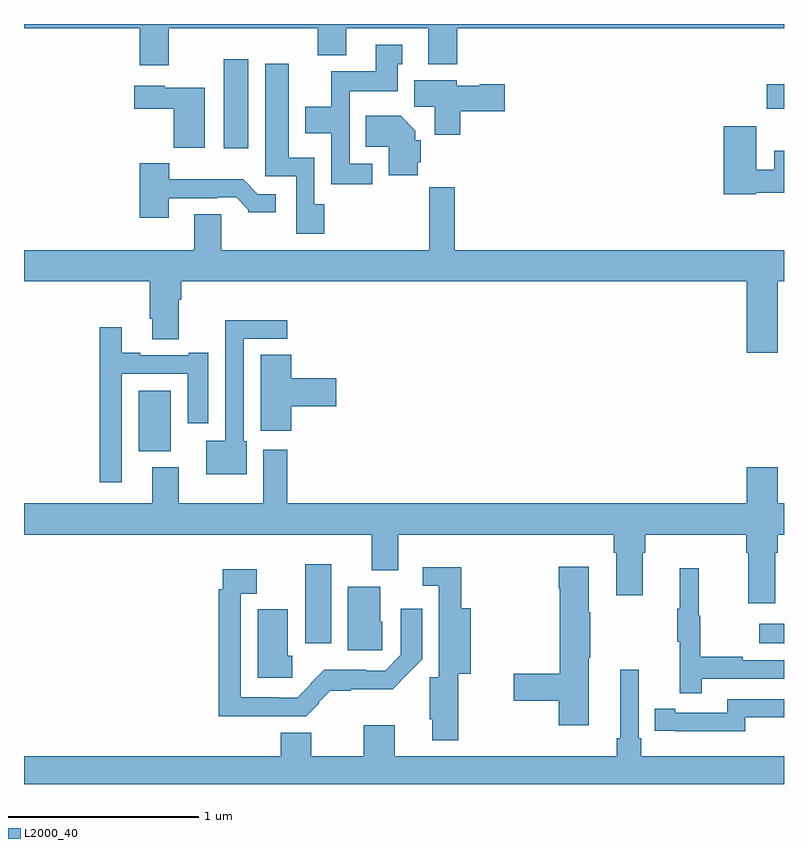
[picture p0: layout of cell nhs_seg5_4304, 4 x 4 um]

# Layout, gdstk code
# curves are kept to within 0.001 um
import gdstk
lib = gdstk.Library(unit=1e-6, precision=1e-09)
def R(c, l, rs):  # rectangles x0, y0, x1, y1
    for r in rs: c.add(gdstk.rectangle(r[:2], r[2:], *l))
def P(c, l, *ps):  # polygons
    for p in ps: c.add(gdstk.Polygon(p, *l))
L2000_40 = (2000, 40)

nhs_seg5_4304 = lib.new_cell('nhs_seg5_4304')
R(nhs_seg5_4304, L2000_40, [(368.871,837.539,369,837.643), (366.479,837.54,366.616,837.955), (365.603,838.55,365.773,838.87), (366.05,840.144,366.181,840.613), (368.91,840.353,369,840.483)])
P(nhs_seg5_4304, L2000_40, [(365.761,840.776),(366.545,840.776),(366.545,840.635),(366.697,840.635),(366.697,840.776),(367.127,840.776),(367.127,840.587),(367.28,840.587),(367.28,840.776),(369,840.776),(369,840.799),(365,840.799),(365,840.776),(365.609,840.776),(365.609,840.582),(365.761,840.582)],
  [(366.832,840.063),(366.714,840.063),(366.714,840.446),(366.967,840.446),(366.967,840.588),(366.991,840.588),(366.991,840.691),(366.851,840.691),(366.851,840.55),(366.616,840.55),(366.616,840.364),(366.479,840.364),(366.479,840.224),(366.618,840.224),(366.618,839.955),(366.832,839.955)],
  [(366.581,839.85),(366.528,839.85),(366.528,840.094),(366.394,840.094),(366.394,840.589),(366.269,840.589),(366.269,839.997),(366.432,839.997),(366.432,839.694),(366.581,839.694)],
  [(367.295,840.341),(367.531,840.341),(367.531,840.483),(367.398,840.483),(367.398,840.475),(367.278,840.475),(367.278,840.502),(367.055,840.502),(367.055,840.364),(367.162,840.364),(367.162,840.216),(367.295,840.216)],
  [(365.95,840.463),(365.742,840.463),(365.742,840.475),(365.58,840.475),(365.58,840.353),(365.788,840.353),(365.788,840.149),(365.95,840.149)],
  [(367.073,840.072),(367.087,840.072),(367.087,840.186),(367.06,840.186),(367.06,840.238),(366.982,840.316),(366.799,840.316),(366.799,840.152),(366.92,840.152),(366.92,840.002),(367.073,840.002)],
  [(368.85,839.91),(369,839.91),(369,840.132),(368.949,840.132),(368.949,840.031),(368.854,840.031),(368.854,840.262),(368.684,840.262),(368.684,839.902),(368.85,839.902)],
  [(365.761,839.883),(366.017,839.883),(366.017,839.886),(366.116,839.886),(366.18,839.822),(366.18,839.807),(366.325,839.807),(366.325,839.904),(366.231,839.904),(366.153,839.983),(365.764,839.983),(365.764,840.067),(365.609,840.067),(365.609,839.778),(365.761,839.778)],
  [(368.968,839.444),(369,839.444),(369,839.608),(367.268,839.608),(367.268,839.941),(367.132,839.941),(367.132,839.608),(366.037,839.608),(366.037,839.798),(365.897,839.798),(365.897,839.608),(365,839.608),(365,839.444),(365.663,839.444),(365.663,839.248),(365.675,839.248),(365.675,839.14),(365.815,839.14),(365.815,839.348),(365.828,839.348),(365.828,839.444),(368.804,839.444),(368.804,839.07),(368.968,839.07)],
  [(366.172,838.602),(366.156,838.602),(366.156,839.142),(366.385,839.142),(366.385,839.24),(366.06,839.24),(366.06,838.606),(365.96,838.606),(365.96,838.43),(366.172,838.43)],
  [(365.514,838.959),(365.861,838.959),(365.861,838.698),(365.971,838.698),(365.971,839.068),(365.867,839.068),(365.867,839.055),(365.611,839.055),(365.611,839.068),(365.515,839.068),(365.515,839.203),(365.398,839.203),(365.398,838.386),(365.514,838.386)],
  [(366.407,838.787),(366.643,838.787),(366.643,838.934),(366.407,838.934),(366.407,839.057),(366.245,839.057),(366.245,838.659),(366.407,838.659)],
  [(368.953,838.016),(368.966,838.016),(368.966,838.112),(369,838.112),(369,838.276),(368.968,838.276),(368.968,838.465),(368.804,838.465),(368.804,838.276),(366.386,838.276),(366.386,838.558),(366.26,838.558),(366.26,838.276),(365.815,838.276),(365.815,838.465),(365.675,838.465),(365.675,838.276),(365,838.276),(365,838.112),(366.83,838.112),(366.83,837.923),(366.97,837.923),(366.97,838.112),(368.105,838.112),(368.105,838.016),(368.117,838.016),(368.117,837.792),(368.257,837.792),(368.257,838.016),(368.27,838.016),(368.27,838.112),(368.801,838.112),(368.801,838.016),(368.813,838.016),(368.813,837.75),(368.953,837.75)],
  [(367.972,837.463),(367.98,837.463),(367.98,837.704),(367.972,837.704),(367.972,837.943),(367.814,837.943),(367.814,837.83),(367.819,837.83),(367.819,837.38),(367.578,837.38),(367.578,837.238),(367.814,837.238),(367.814,837.108),(367.972,837.108)],
  [(367.286,837.38),(367.35,837.38),(367.35,837.724),(367.301,837.724),(367.301,837.94),(367.098,837.94),(367.098,837.843),(367.184,837.843),(367.184,837.36),(367.136,837.36),(367.136,837.139),(367.148,837.139),(367.148,837.029),(367.286,837.029)],
  [(368.567,837.354),(369,837.354),(369,837.45),(368.783,837.45),(368.783,837.47),(368.56,837.47),(368.56,837.684),(368.552,837.684),(368.552,837.934),(368.45,837.934),(368.45,837.721),(368.439,837.721),(368.439,837.547),(368.45,837.547),(368.45,837.276),(368.567,837.276)],
  [(366.555,837.225),(366.551,837.229),(366.613,837.291),(366.721,837.291),(366.721,837.299),(366.941,837.299),(367.096,837.456),(367.096,837.721),(366.984,837.721),(366.984,837.48),(366.9,837.396),(366.8,837.396),(366.8,837.401),(366.581,837.401),(366.507,837.327),(366.51,837.324),(366.438,837.252),(366.338,837.252),(366.338,837.256),(366.141,837.256),(366.141,837.8),(366.224,837.8),(366.224,837.928),(366.045,837.928),(366.045,837.824),(366.025,837.824),(366.025,837.155),(366.485,837.155)],
  [(366.885,837.654),(366.874,837.654),(366.874,837.838),(366.704,837.838),(366.704,837.504),(366.885,837.504)],
  [(366.411,837.474),(366.388,837.474),(366.388,837.719),(366.23,837.719),(366.23,837.357),(366.411,837.357)],
  [(369,836.944),(368.249,836.944),(368.249,837.04),(368.235,837.04),(368.235,837.4),(368.138,837.4),(368.138,837.04),(368.119,837.04),(368.119,836.944),(366.952,836.944),(366.952,837.109),(366.788,837.109),(366.788,836.944),(366.511,836.944),(366.511,837.07),(366.35,837.07),(366.35,836.944),(365,836.944),(365,836.799),(369,836.799)],
  [(368.796,837.15),(369,837.15),(369,837.246),(368.7,837.246),(368.7,837.174),(368.428,837.174),(368.428,837.194),(368.32,837.194),(368.32,837.078),(368.428,837.078),(368.428,837.077),(368.796,837.077)])

lib.write_gds('nhs_seg5_4304.gds')
